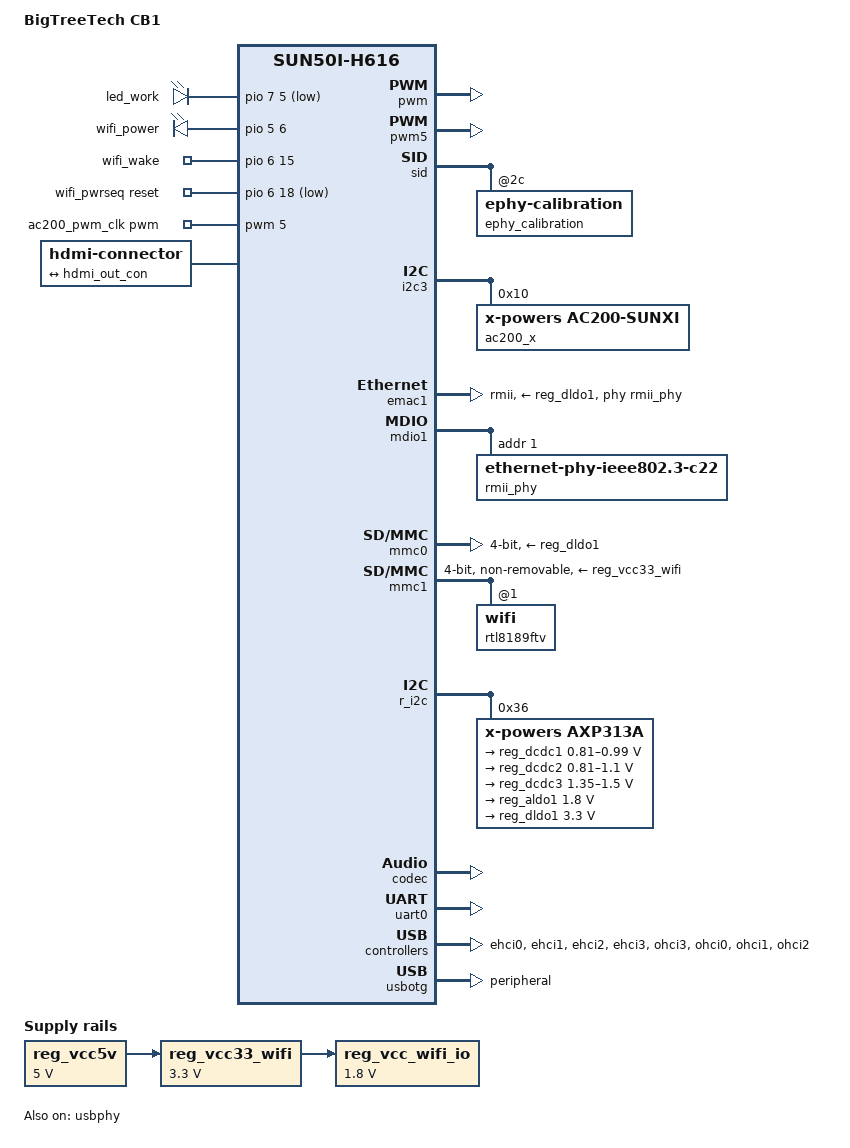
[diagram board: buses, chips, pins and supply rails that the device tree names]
// SPDX-License-Identifier: (GPL-2.0+ OR MIT)
/*
 * Copyright (C) 2023 Martin Botka <martin.botka@somainline.org>.
 */

/dts-v1/;

#include "sun50i-h616.dtsi"
#include "sun50i-h616-cpu-opp.dtsi"

#include <dt-bindings/gpio/gpio.h>
#include <dt-bindings/input/input.h>

/ {
	model = "BigTreeTech CB1";
	compatible = "bigtreetech,cb1", "allwinner,sun50i-h616";

	aliases {
		serial0 = &uart0;
	};

	chosen {
		stdout-path = "serial0:115200n8";
	};

	leds {
		compatible = "gpio-leds";

		led_work: led-work {
			label = "led_work";
			gpios = <&pio 7 5 GPIO_ACTIVE_LOW>; /* PH5 */
			linux,default-trigger = "heartbeat";
			status = "okay";
		};

		gpio_wifi_power: gpio-wifi-power {
			label = "wifi_power";
			gpios = <&pio 5 6 GPIO_ACTIVE_HIGH>; /* PF6 */
			default-state = "on";
			status = "okay";
		};

		gpio_wifi_wake: gpio-wifi-wake {
			label = "wifi_wake";
			gpios = <&pio 6 15 GPIO_ACTIVE_HIGH>; /* PG15 */
			default-state = "on";
			status = "okay";
		};

		gpio_pad7_vibration: gpio-pad7-vibration {
			label = "pad7_vibration";
			default-state = "off";
			status = "disabled";
		};
	};

	reg_vcc5v: regulator-vcc5v {
		/* board wide 5V supply from carrier boards */
		compatible = "regulator-fixed";
		regulator-name = "vcc-5v";
		regulator-min-microvolt = <5000000>;
		regulator-max-microvolt = <5000000>;
		regulator-always-on;
	};

	reg_vcc33_wifi: vcc33-wifi {
		compatible = "regulator-fixed";
		regulator-name = "vcc33-wifi";
		regulator-min-microvolt = <3300000>;
		regulator-max-microvolt = <3300000>;
		regulator-always-on;
		vin-supply = <&reg_vcc5v>;
	};

	reg_vcc_wifi_io: vcc-wifi-io {
		compatible = "regulator-fixed";
		regulator-name = "vcc-wifi-io";
		regulator-min-microvolt = <1800000>;
		regulator-max-microvolt = <1800000>;
		regulator-always-on;
		vin-supply = <&reg_vcc33_wifi>;
	};

	wifi_pwrseq: wifi-pwrseq {
		compatible = "mmc-pwrseq-simple";
		clocks = <&rtc 1>;
		clock-names = "osc32k-out";
		reset-gpios = <&pio 6 18 GPIO_ACTIVE_LOW>; /* PG18 */
		post-power-on-delay-ms = <200>;
	};

	ac200_pwm_clk: ac200_clk {
		compatible = "pwm-clock";
		#clock-cells = <0>;
		// pwm5 period_ns = 500 > 334 for select 24M clock.
		pwms = <&pwm 5 500 0>;
		clock-frequency = <2000000>;
		status = "okay";
	};

	connector {
		compatible = "hdmi-connector";
		type = "d";

		port {
			hdmi_con_in: endpoint {
				remote-endpoint = <&hdmi_out_con>;
			};
		};
	};

	ws2812: ws2812 {
		compatible = "rgb-ws2812";
		pinctrl-names = "default";
		rgb_cnt = <2>;
		rgb_value = <0x000001 0x010000>;
		status = "disabled";
	};

	gpio_keys {
		compatible = "gpio-keys";
		status = "disabled";
		button_power {
			label = "Power";
			linux,code = <KEY_POWER>;
			debounce-interval = <100>; // ms
		};
	};

	i2c_gpio: i2c-gpio {
		#address-cells = <1>;
		#size-cells = <0>;
		compatible = "i2c-gpio";
		status = "disabled";

		i2c-gpio,delay-us = <2>;
		i2c-gpio,timeout-ms = <200>;
		i2c-gpio,scl-open-drain;
		i2c-gpio,sda-open-drain;

		tp_tft35: ns2009@48 {
			compatible = "ti,tsc2007";
			reg = <0x48>;
			status = "disabled";
			ti,x-plate-ohms = <660>;
			ti,y-plate-ohms = <660>;
			ti,fuzzx = <32>;
			ti,fuzzy = <16>;
			touchscreen-inverted-x;
			touchscreen-swapped-x-y;
		};

		tp_tft43: gt911@5d {
			compatible = "goodix,gt911";
			reg = <0x5d>;
			status = "disabled";
			VDDIO-supply = <&reg_dldo1>;
			AVDD28-supply = <&reg_dldo1>;
		};

		light: bh1750@5c {
			compatible = "rohm,bh1750";
			reg = <0x5c>;
			status = "disabled";
		};
	};

	mcp2515_clock: mcp2515_clock {
		compatible = "fixed-clock";
		#clock-cells = <0>;
		clock-frequency  = <12000000>;
	};
};

&cpu0 {
	cpu-supply = <&reg_dcdc2>;
};

&gpu {
	mali-supply = <&reg_dcdc1>;
	status = "disabled";
};

&pwm {
	status = "okay";
};

&pwm5 {
	// clk_bypass_output = 1 for Clock direct output without frequency division
	// so pwm5 output is 24MHz for AC200 & AC300 clock
	clk_bypass_output = <0x1>;
	status = "okay";
};

&i2c0_pins {
	bias-pull-up;
};

&i2c3_pa_pins {
	bias-pull-up;
};

&sid {
	ephy_calibration: ephy-calibration@2c {
		reg = <0x2c 0x2>;
	};
};

&i2c3 {
	status = "okay";
	pinctrl-names = "default";
	pinctrl-0 = <&i2c3_pa_pins>;

	ac200_x: mfd@10 {
		compatible = "x-powers,ac200-sunxi";
		reg = <0x10>;
		clocks = <&ac200_pwm_clk>;
		// ephy id
		nvmem-cells = <&ephy_calibration>;
		nvmem-cell-names = "calibration";

		ac200_ephy: phy {
			compatible = "x-powers,ac200-ephy-sunxi";
			status = "okay";
		};
	};
};

&emac1 {
	pinctrl-names = "default";
	pinctrl-0 = <&rmii_pins>;
	phy-mode = "rmii";
	phy-handle = <&rmii_phy>;
	phy-supply = <&reg_dldo1>;
	allwinner,rx-delay-ps = <3100>;
	allwinner,tx-delay-ps = <700>;
	status = "okay";
};

&mdio1 {
	rmii_phy: ethernet-phy@1 {
		compatible = "ethernet-phy-ieee802.3-c22";
		reg = <1>;
	};
};

&mmc0 {
	vmmc-supply = <&reg_dldo1>;
	/* Card detection pin is not connected */
	broken-cd;
	bus-width = <4>;
	status = "okay";
};

&mmc1 {
	vmmc-supply = <&reg_vcc33_wifi>;
	vqmmc-supply = <&reg_vcc_wifi_io>;
	mmc-pwrseq = <&wifi_pwrseq>;
	bus-width = <4>;
	max-frequency = <25000000>;
	non-removable;
	mmc-ddr-1_8v;
	status = "okay";

	rtl8189ftv: wifi@1 {
		reg = <1>;
	};
};

&pio {
	i2c_gpios: i2c-gpios {
		function = "gpio_out";
		bias-pull-up;
	};

	can0_pin_irq: can0_pin_irq {
		function = "gpio_in";
		bias-pull-up;
	};
};

&spi1 {
	#address-cells = <1>;
	#size-cells = <0>;
	status = "disabled";
	pinctrl-names = "default";
	pinctrl-0 = <&spi1_pins>;

	can: mcp2515@0 {
		status = "disabled";
		compatible = "microchip,mcp2515";
		reg = <0x0>;
		clocks = <&mcp2515_clock>;
		spi-max-frequency = <10000000>;
		pinctrl-names = "default";
		pinctrl-0 = <&can0_pin_irq>;
		interrupt-parent = <&pio>;
		vdd-supply = <&reg_vcc33_wifi>;
		xceiver-supply = <&reg_vcc33_wifi>;
	};

	tft35: st7796s@1 {
		status = "disabled";
		compatible = "sitronix,st7796s";
		reg = <1>;
		spi-max-frequency =<12500000>;
		fps =<60>;
		buswidth = <8>;
		rotate =<0>;
		width = <480>;
		height = <320>;
		bpp = <24>;
		bgr;
		regwidth = <8>;
		debug = <0x00>;
		txbuflen = <307200>;
		spi-cpol;
		spi-cpha;
	};

	tft43: nv3041a@1 {
		status = "disabled";
		compatible = "newvision,nv3041a";
		reg = <1>;
		spi-max-frequency = <12500000>;
		fps = <60>;
		buswidth = <8>;
		rotate = <0>;
		width = <480>;
		height = <272>;
		bpp = <24>;
		regwidth = <8>;
		debug = <0x00>;
		txbuflen = <307200>;
		spi-cpol;
		spi-cpha;
	};
};

&r_i2c {
	status = "okay";

	axp313a: pmic@36 {
		compatible = "x-powers,axp313a";
		reg = <0x36>;
		interrupt-controller;
		#interrupt-cells = <1>;

		regulators {
			reg_dcdc1: dcdc1 {
				regulator-name = "vdd-gpu-sys";
				regulator-min-microvolt = <810000>;
				regulator-max-microvolt = <990000>;
				regulator-always-on;
			};

			reg_dcdc2: dcdc2 {
				regulator-name = "vdd-cpu";
				regulator-min-microvolt = <810000>;
				regulator-max-microvolt = <1100000>;
				regulator-ramp-delay = <200>;
				regulator-always-on;
			};

			reg_dcdc3: dcdc3 {
				regulator-name = "vcc-dram";
				regulator-min-microvolt = <1350000>;
				regulator-max-microvolt = <1500000>;
				regulator-always-on;
			};

			reg_aldo1: aldo1 {
				regulator-name = "vcc-1v8-pll";
				regulator-min-microvolt = <1800000>;
				regulator-max-microvolt = <1800000>;
				regulator-always-on;
			};

			reg_dldo1: dldo1 {
				regulator-name = "vcc-3v3-io";
				regulator-min-microvolt = <3300000>;
				regulator-max-microvolt = <3300000>;
				regulator-always-on;
			};
		};
	};
};

&de {
	status = "disabled";
};

&hdmi {
	hvcc-supply = <&reg_aldo1>;
	status = "disabled";
};

&hdmi_out {
	hdmi_out_con: endpoint {
		remote-endpoint = <&hdmi_con_in>;
	};
};

&ahub_dam_plat {
	status = "disabled";
};

&ahub1_plat {
	status = "disabled";
};

&ahub1_mach {
	status = "disabled";
};

&codec {
	allwinner,audio-routing = "Line Out", "LINEOUT";
	status = "okay";
};

&uart0 {
	pinctrl-names = "default";
	pinctrl-0 = <&uart0_ph_pins>;
	status = "okay";
};

&usbphy {
	status = "okay";
};

&ehci0 {
	status = "okay";
};

&ehci1 {
	status = "okay";
};

&ehci2 {
	status = "okay";
};

&ehci3 {
	status = "okay";
};

&ohci3 {
	status = "okay";
};

&ohci0 {
	status = "okay";
};

&ohci1 {
	status = "okay";
};

&ohci2 {
	status = "okay";
};

&usbotg {
	/*
	 * PHY0 pins are connected to a USB-C socket, but a role switch
	 * is not implemented: both CC pins are pulled to GND.
	 * The VBUS pins power the device, so a fixed peripheral mode
	 * is the best choice.
	 * The board can be powered via GPIOs, in this case port0 *can*
	 * act as a host (with a cable/adapter ignoring CC), as VBUS is
	 * then provided by the GPIOs. Any user of this setup would
	 * need to adjust the DT accordingly: dr_mode set to "host",
	 * enabling OHCI0 and EHCI0.
	 */
	dr_mode = "peripheral";
	status = "okay";
};
